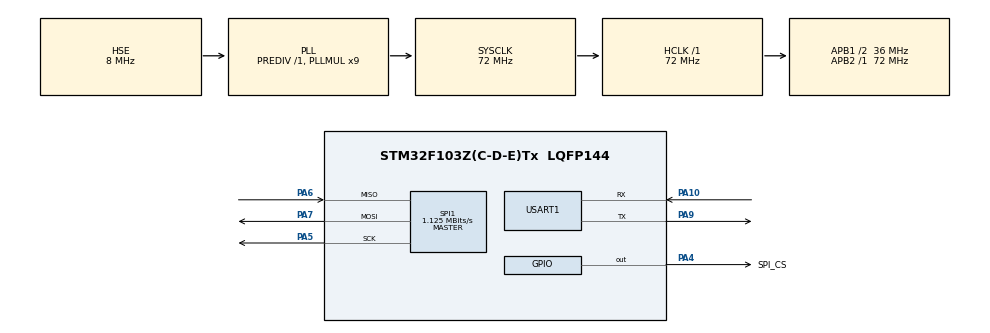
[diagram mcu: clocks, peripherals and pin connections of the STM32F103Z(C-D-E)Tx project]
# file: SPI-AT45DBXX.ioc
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Mcu.Family=STM32F1
Mcu.Name=STM32F103Z(C-D-E)Tx
Mcu.Package=LQFP144
NVIC.PriorityGroup=NVIC_PRIORITYGROUP_4
OSC_IN.Mode=HSE-External-Oscillator
OSC_IN.Signal=RCC_OSC_IN
OSC_OUT.Mode=HSE-External-Oscillator
OSC_OUT.Signal=RCC_OSC_OUT
PA10.Mode=Asynchronous
PA10.Signal=USART1_RX
PA4.GPIO_Label=SPI_CS
PA4.PinState=GPIO_PIN_RESET
PA4.Signal=GPIO_Output
PA5.Mode=Full_Duplex_Master
PA5.Signal=SPI1_SCK
PA6.Mode=Full_Duplex_Master
PA6.Signal=SPI1_MISO
PA7.Mode=Full_Duplex_Master
PA7.Signal=SPI1_MOSI
PA9.Mode=Asynchronous
PA9.Signal=USART1_TX
ProjectManager.HeapSize=0x200
ProjectManager.StackSize=0x400
ProjectManager.TargetToolchain=MDK-ARM V5
RCC.AHBFreq_Value=72000000
RCC.APB1CLKDivider=RCC_HCLK_DIV2
RCC.APB1Freq_Value=36000000
RCC.APB1TimFreq_Value=72000000
RCC.APB2Freq_Value=72000000
RCC.APB2TimFreq_Value=72000000
RCC.HCLKFreq_Value=72000000
RCC.HSIState=RCC_HSI_ON
RCC.PLLMUL=RCC_PLL_MUL9
RCC.PLLSourceVirtual=RCC_PLLSOURCE_HSE
RCC.SYSCLKFreq_VALUE=72000000
RCC.SYSCLKSource=RCC_SYSCLKSOURCE_PLLCLK
RCC.USBFreq_Value=72000000
SPI1.BaudRatePrescaler=SPI_BAUDRATEPRESCALER_64
SPI1.CLKPhase=SPI_PHASE_2EDGE
SPI1.CLKPolarity=SPI_POLARITY_HIGH
SPI1.CalculateBaudRate=1.125 MBits/s
SPI1.Mode=SPI_MODE_MASTER
VP_SYS_VS_ND.Mode=No_Debug
board=SPI-AT45DBXX

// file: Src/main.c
/**
  ******************************************************************************
  * File Name          : main.c
  * Description        : Main program body
  ******************************************************************************
  *
  * COPYRIGHT(c) 2017 STMicroelectronics
  *
  * Redistribution and use in source and binary forms, with or without modification,
  * are permitted provided that the following conditions are met:
  *   1. Redistributions of source code must retain the above copyright notice,
  *      this list of conditions and the following disclaimer.
  *   2. Redistributions in binary form must reproduce the above copyright notice,
  *      this list of conditions and the following disclaimer in the documentation
  *      and/or other materials provided with the distribution.
  *   3. Neither the name of STMicroelectronics nor the names of its contributors
  *      may be used to endorse or promote products derived from this software
  *      without specific prior written permission.
  *
  * THIS SOFTWARE IS PROVIDED BY THE COPYRIGHT HOLDERS AND CONTRIBUTORS "AS IS"
  * AND ANY EXPRESS OR IMPLIED WARRANTIES, INCLUDING, BUT NOT LIMITED TO, THE
  * IMPLIED WARRANTIES OF MERCHANTABILITY AND FITNESS FOR A PARTICULAR PURPOSE ARE
  * DISCLAIMED. IN NO EVENT SHALL THE COPYRIGHT HOLDER OR CONTRIBUTORS BE LIABLE
  * FOR ANY DIRECT, INDIRECT, INCIDENTAL, SPECIAL, EXEMPLARY, OR CONSEQUENTIAL
  * DAMAGES (INCLUDING, BUT NOT LIMITED TO, PROCUREMENT OF SUBSTITUTE GOODS OR
  * SERVICES; LOSS OF USE, DATA, OR PROFITS; OR BUSINESS INTERRUPTION) HOWEVER
  * CAUSED AND ON ANY THEORY OF LIABILITY, WHETHER IN CONTRACT, STRICT LIABILITY,
  * OR TORT (INCLUDING NEGLIGENCE OR OTHERWISE) ARISING IN ANY WAY OUT OF THE USE
  * OF THIS SOFTWARE, EVEN IF ADVISED OF THE POSSIBILITY OF SUCH DAMAGE.
  *
  ******************************************************************************
  */
#include "main.h"
#include "stm32f1xx_hal.h"
#include "spi.h"
#include "usart.h"
#include "gpio.h"

/* USER CODE BEGIN Includes */
#include "AT45DBXX.h"
/* USER CODE END Includes */

/* USER CODE BEGIN PV */
/* Private variables ---------------------------------------------------------*/

/* USER CODE END PV */

void SystemClock_Config(void);
void Error_Handler(void);

/* USER CODE BEGIN PFP */
/* Private function prototypes -----------------------------------------------*/

/* USER CODE END PFP */

int main(void)
{

  /* USER CODE BEGIN 1 */
  uint8_t ID[4];
  /* USER CODE END 1 */

  /* MCU Configuration----------------------------------------------------------*/

  /* Reset of all peripherals, Initializes the Flash interface and the Systick. */
  HAL_Init();

  /* Configure the system clock */
  SystemClock_Config();

  /* Initialize all configured peripherals */
  MX_GPIO_Init();
  MX_USART1_UART_Init();
  MX_SPI1_Init();

  /* USER CODE BEGIN 2 */
  printf("\r\n SPI Example \r\n\r\n");

  /*##-1- Read the device ID ########################*/
  AT45DBXX_Read_ID(ID);

  printf("AT45DBXX ID is");
  for(uint8_t i = 0; i < 4; i++)
  {
    printf(" 0x%02X ", ID[i]);
  }
  printf("\r\n");

  /*##-2- Written to the flash ########################*/
  printf("\r\nFALSH AT45DBXX Write Test: \r\n");
  for(int i = 0; i <= 0xFF; i++)
  {
    AT45DBXX_Write((uint16_t)i, (uint8_t)i);
    printf("%02X ", i);
  }

  /*##-3- Read the flash     ########################*/
  printf("\r\nFALSH AT45DBXX Read Test: \r\n");

  for(int i = 0; i <= 0xFF; i++)
  {
    printf("%02X ", AT45DBXX_Read((uint16_t)i));
  }
  /* USER CODE END 2 */

  /* Infinite loop */
  while (1)
  {

  }

}

/** System Clock Configuration
*/
void SystemClock_Config(void)
{

  RCC_OscInitTypeDef RCC_OscInitStruct;
  RCC_ClkInitTypeDef RCC_ClkInitStruct;

    /**Initializes the CPU, AHB and APB busses clocks
    */
  RCC_OscInitStruct.OscillatorType = RCC_OSCILLATORTYPE_HSE;
  RCC_OscInitStruct.HSEState = RCC_HSE_ON;
  RCC_OscInitStruct.HSEPredivValue = RCC_HSE_PREDIV_DIV1;
  RCC_OscInitStruct.HSIState = RCC_HSI_ON;
  RCC_OscInitStruct.PLL.PLLState = RCC_PLL_ON;
  RCC_OscInitStruct.PLL.PLLSource = RCC_PLLSOURCE_HSE;
  RCC_OscInitStruct.PLL.PLLMUL = RCC_PLL_MUL9;
  if (HAL_RCC_OscConfig(&RCC_OscInitStruct) != HAL_OK)
  {
    Error_Handler();
  }

    /**Initializes the CPU, AHB and APB busses clocks
    */
  RCC_ClkInitStruct.ClockType = RCC_CLOCKTYPE_HCLK|RCC_CLOCKTYPE_SYSCLK
                              |RCC_CLOCKTYPE_PCLK1|RCC_CLOCKTYPE_PCLK2;
  RCC_ClkInitStruct.SYSCLKSource = RCC_SYSCLKSOURCE_PLLCLK;
  RCC_ClkInitStruct.AHBCLKDivider = RCC_SYSCLK_DIV1;
  RCC_ClkInitStruct.APB1CLKDivider = RCC_HCLK_DIV2;
  RCC_ClkInitStruct.APB2CLKDivider = RCC_HCLK_DIV1;

  if (HAL_RCC_ClockConfig(&RCC_ClkInitStruct, FLASH_LATENCY_2) != HAL_OK)
  {
    Error_Handler();
  }

    /**Configure the Systick interrupt time
    */
  HAL_SYSTICK_Config(HAL_RCC_GetHCLKFreq()/1000);

    /**Configure the Systick
    */
  HAL_SYSTICK_CLKSourceConfig(SYSTICK_CLKSOURCE_HCLK);

  /* SysTick_IRQn interrupt configuration */
  HAL_NVIC_SetPriority(SysTick_IRQn, 0, 0);
}

void Error_Handler(void)
{
  while(1)
  {
  }
}

/************************ (C) COPYRIGHT STMicroelectronics *****END OF FILE****/
